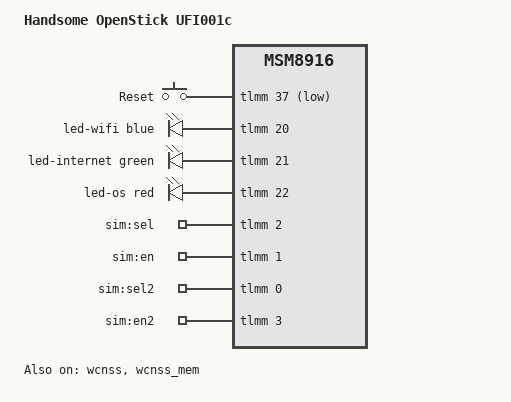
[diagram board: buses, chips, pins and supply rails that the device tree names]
// SPDX-License-Identifier: GPL-2.0-only
/*
 * Handsome OpenStick UFI001c - MSM8916 4G USB stick
 *
 * Board layout (based on HandsomeMod 5.10 DTS):
 *   - Wi-Fi/BT: WCN3660b (pronto v2)
 *   - Reset button: GPIO 37
 *   - LEDs: wifi=20, internet=21, os=22,
 *     sim_sel=2 (default on), sim_en=1, sim_sel2=0, sim_en2=3
 *   - eMMC: sdhc_1
 */

/dts-v1/;

#include "msm8916-handsome-openstick-common.dtsi"
#include <dt-bindings/leds/common.h>

/ {
	model = "Handsome OpenStick UFI001c";
	compatible = "handsome,openstick", "qcom,msm8916";

	gpio-keys {
		compatible = "gpio-keys";

		pinctrl-names = "default";
		pinctrl-0 = <&gpio_keys_default>;

		button-reset {
			label = "Reset";
			gpios = <&tlmm 37 GPIO_ACTIVE_LOW>;
			linux,code = <KEY_RESTART>;
		};
	};

	leds {
		compatible = "gpio-leds";

		pinctrl-names = "default";
		pinctrl-0 = <&gpio_leds_default>;

		led-wifi {
			function = LED_FUNCTION_WLAN;
			color = <LED_COLOR_ID_BLUE>;
			gpios = <&tlmm 20 GPIO_ACTIVE_HIGH>;
			linux,default-trigger = "phy0tx";
		};

		led-internet {
			function = LED_FUNCTION_WAN;
			color = <LED_COLOR_ID_GREEN>;
			gpios = <&tlmm 21 GPIO_ACTIVE_HIGH>;
		};

		led-os {
			function = LED_FUNCTION_HEARTBEAT;
			color = <LED_COLOR_ID_RED>;
			gpios = <&tlmm 22 GPIO_ACTIVE_HIGH>;
			linux,default-trigger = "heartbeat";
			default-state = "on";
		};

		led-sim-sel {
			label = "sim:sel";
			gpios = <&tlmm 2 GPIO_ACTIVE_HIGH>;
			default-state = "on";
		};

		led-sim-en {
			label = "sim:en";
			gpios = <&tlmm 1 GPIO_ACTIVE_HIGH>;
		};

		led-sim-sel2 {
			label = "sim:sel2";
			gpios = <&tlmm 0 GPIO_ACTIVE_HIGH>;
		};

		led-sim-en2 {
			label = "sim:en2";
			gpios = <&tlmm 3 GPIO_ACTIVE_HIGH>;
		};
	};
};

&wcnss {
	status = "okay";
};

&wcnss_iris {
	compatible = "qcom,wcn3660b";
};

&wcnss_mem {
	status = "okay";
};

&tlmm {
	gpio_leds_default: gpio-leds-default-state {
		pins = "gpio0", "gpio1", "gpio2", "gpio3",
		       "gpio20", "gpio21", "gpio22";
		function = "gpio";
		bias-disable;
	};

	gpio_keys_default: gpio-keys-default-state {
		pins = "gpio37";
		function = "gpio";

		drive-strength = <8>;
		input-enable;
		bias-pull-up;
	};
};
